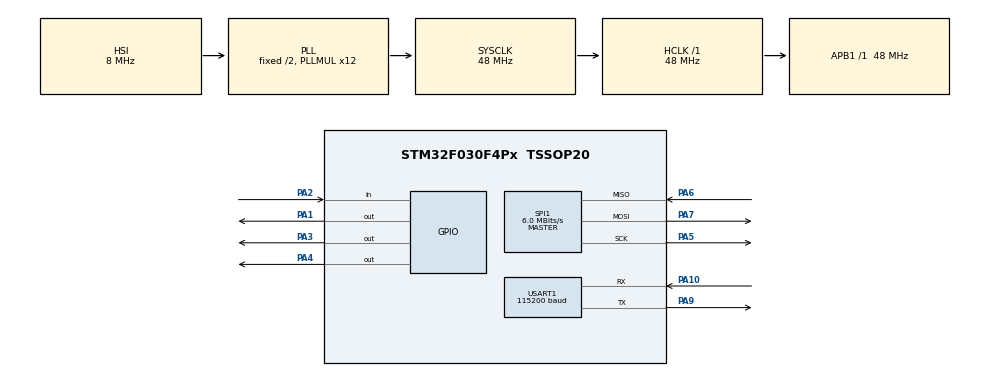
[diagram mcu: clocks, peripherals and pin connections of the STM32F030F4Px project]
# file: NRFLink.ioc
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Mcu.Family=STM32F0
Mcu.Name=STM32F030F4Px
Mcu.Package=TSSOP20
NVIC.USART1_IRQn=true\:2\:0\:true\:false\:true\:true\:true
PA1.GPIO_PuPd=GPIO_PULLUP
PA1.GPIO_Speed=GPIO_SPEED_FREQ_MEDIUM
PA1.PinState=GPIO_PIN_SET
PA1.Signal=GPIO_Output
PA10.Mode=Asynchronous
PA10.Signal=USART1_RX
PA13.Mode=Serial_Wire
PA13.Signal=SYS_SWDIO
PA14.Mode=Serial_Wire
PA14.Signal=SYS_SWCLK
PA2.GPIO_PuPd=GPIO_PULLUP
PA2.Signal=GPIO_Input
PA3.GPIO_ModeDefaultOutputPP=GPIO_MODE_OUTPUT_PP
PA3.GPIO_PuPd=GPIO_NOPULL
PA3.GPIO_Speed=GPIO_SPEED_FREQ_HIGH
PA3.PinState=GPIO_PIN_SET
PA3.Signal=GPIO_Output
PA4.GPIO_ModeDefaultOutputPP=GPIO_MODE_OUTPUT_PP
PA4.GPIO_PuPd=GPIO_NOPULL
PA4.GPIO_Speed=GPIO_SPEED_FREQ_HIGH
PA4.PinState=GPIO_PIN_SET
PA4.Signal=GPIO_Output
PA5.Mode=Full_Duplex_Master
PA5.Signal=SPI1_SCK
PA6.Mode=Full_Duplex_Master
PA6.Signal=SPI1_MISO
PA7.Mode=Full_Duplex_Master
PA7.Signal=SPI1_MOSI
PA9.Mode=Asynchronous
PA9.Signal=USART1_TX
ProjectManager.HeapSize=0x200
ProjectManager.StackSize=0x400
ProjectManager.TargetToolchain=MDK-ARM V5
RCC.AHBFreq_Value=48000000
RCC.APB1Freq_Value=48000000
RCC.APB1TimFreq_Value=48000000
RCC.HCLKFreq_Value=48000000
RCC.PLLMUL=RCC_PLL_MUL12
RCC.SYSCLKFreq_VALUE=48000000
RCC.SYSCLKSource=RCC_SYSCLKSOURCE_PLLCLK
SPI1.BaudRatePrescaler=SPI_BAUDRATEPRESCALER_8
SPI1.CRCCalculation=SPI_CRCCALCULATION_DISABLE
SPI1.CalculateBaudRate=6.0 MBits/s
SPI1.DataSize=SPI_DATASIZE_8BIT
SPI1.Direction=SPI_DIRECTION_2LINES
SPI1.Mode=SPI_MODE_MASTER
SPI1.VirtualType=VM_MASTER
USART1.BaudRate=115200
USART1.VirtualMode-Asynchronous=VM_ASYNC
board=custom

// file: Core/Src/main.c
/* USER CODE BEGIN Header */
/**
  ******************************************************************************
  * @file           : main.c
  * @brief          : Main program body
  ******************************************************************************
  * @attention
  *
  * <h2><center>&copy; Copyright (c) 2023 STMicroelectronics.
  * All rights reserved.</center></h2>
  *
  * This software component is licensed by ST under BSD 3-Clause license,
  * the "License"; You may not use this file except in compliance with the
  * License. You may obtain a copy of the License at:
  *                        opensource.org/licenses/BSD-3-Clause
  *
  ******************************************************************************
  */
/* USER CODE END Header */
#include "main.h"
#include "spi.h"
#include "usart.h"
#include "gpio.h"

/* USER CODE BEGIN Includes */
#include "nrf24l01.h"
/* USER CODE END Includes */

void SystemClock_Config(void);

/* USER CODE BEGIN 0 */
#define RX_BUFF_LEN  32
uint8_t rxBuff[RX_BUFF_LEN]={0};//定义一个全局变量

void HAL_UART_RxCpltCallback(UART_HandleTypeDef *huart)
{
    if(huart->Instance == USART1)//假如有串口1触发接收中断
    {
	   HAL_UART_Receive_IT(&huart1,rxBuff,32);
       HAL_UART_Transmit(&huart1,rxBuff,sizeof(rxBuff),100);
    }

}

int16_t check_nrf = 0;
uint8_t check_rx = 0;
uint8_t nrf_test[32] = {0};

typedef struct{
	uint16_t lx_value;
	uint16_t ly_value;
	uint16_t rx_value;
	uint16_t ry_value;

	uint16_t gyrox;
	uint16_t gyroy;
	uint16_t gyroz;

	uint16_t accx;
	uint16_t accy;
	uint16_t accz;

	uint8_t key_value;

	float anglex;
	float angley;
	float anglez;

}RC_Ctrl_t;

RC_Ctrl_t RC_Ctrl;

typedef union {
	uint8_t uchar_data[4];
	float   float_data;
}uchar_to_float_t;

uchar_to_float_t uchar_to_float;

/* USER CODE END 0 */

int main(void)
{
  /* USER CODE BEGIN 1 */
	uint8_t reLen = 0;						// 接收到的数据长度
  /* USER CODE END 1 */

  /* MCU Configuration--------------------------------------------------------*/

  /* Reset of all peripherals, Initializes the Flash interface and the Systick. */
  HAL_Init();

  /* Configure the system clock */
  SystemClock_Config();

  /* Initialize all configured peripherals */
  MX_GPIO_Init();
  MX_SPI1_Init();
  MX_USART1_UART_Init();
  /* USER CODE BEGIN 2 */
	__HAL_UART_ENABLE_IT(&huart1,UART_IT_RXNE);
	HAL_UART_Receive_IT(&huart1,rxBuff,32);
	NRF24L01_Gpio_Init();
	NRF24L01_Init();
	check_nrf = NRF24L01_Check();
	NRF24L01_Set_Mode( MODE_RX );
//	NRF24L01_RX_Mode();
  /* USER CODE END 2 */

  /* Infinite loop */
  while (1)
  {

    /* USER CODE BEGIN 3 */
	reLen = NRF24L01_RxPacket( nrf_test );		// 接收字节
	if( 0 != reLen )
	{
		//printf("rxData is: %d%s \r\n", nrf24l01RxBuffer[0], &nrf24l01RxBuffer[1]);
	}
	if(nrf_test[0] == 0xA3 && nrf_test[28] == 0X3A)
	{
		RC_Ctrl.lx_value = (nrf_test[1]<<8) + nrf_test[2];
		RC_Ctrl.ly_value = (nrf_test[3]<<8) + nrf_test[4];
		RC_Ctrl.rx_value = (nrf_test[5]<<8) + nrf_test[6];
		RC_Ctrl.ry_value = (nrf_test[7]<<8) + nrf_test[8];

		RC_Ctrl.gyrox = (nrf_test[9]<<8) + nrf_test[10];
		RC_Ctrl.gyroy = (nrf_test[11]<<8) + nrf_test[12];
		RC_Ctrl.gyroz = (nrf_test[13]<<8) + nrf_test[14];

//			RC_Ctrl.accx = (nrf_test[15]<<8) + nrf_test[16];
//			RC_Ctrl.accy = (nrf_test[17]<<8) + nrf_test[18];
//			RC_Ctrl.accz = (nrf_test[19]<<8) + nrf_test[20];

		RC_Ctrl.key_value = nrf_test[15];

		uchar_to_float.uchar_data[0] = nrf_test[16];
		uchar_to_float.uchar_data[1] = nrf_test[17];
		uchar_to_float.uchar_data[2] = nrf_test[18];
		uchar_to_float.uchar_data[3] = nrf_test[19];
		RC_Ctrl.anglex = uchar_to_float.float_data;

		uchar_to_float.uchar_data[0] = nrf_test[20];
		uchar_to_float.uchar_data[1] = nrf_test[21];
		uchar_to_float.uchar_data[2] = nrf_test[22];
		uchar_to_float.uchar_data[3] = nrf_test[23];
		RC_Ctrl.angley = uchar_to_float.float_data;

		uchar_to_float.uchar_data[0] = nrf_test[24];
		uchar_to_float.uchar_data[1] = nrf_test[25];
		uchar_to_float.uchar_data[2] = nrf_test[26];
		uchar_to_float.uchar_data[3] = nrf_test[27];
		RC_Ctrl.anglez = uchar_to_float.float_data;

	}
//	PAout(1) = 0;
//	HAL_Delay(1000);
//	PAout(1) = 1;
//	HAL_Delay(1000);
	//HAL_Delay(5);
  }
  /* USER CODE END 3 */
}

void SystemClock_Config(void)
{
  RCC_OscInitTypeDef RCC_OscInitStruct = {0};
  RCC_ClkInitTypeDef RCC_ClkInitStruct = {0};
  RCC_PeriphCLKInitTypeDef PeriphClkInit = {0};

  /** Initializes the RCC Oscillators according to the specified parameters
  * in the RCC_OscInitTypeDef structure.
  */
  RCC_OscInitStruct.OscillatorType = RCC_OSCILLATORTYPE_HSI;
  RCC_OscInitStruct.HSIState = RCC_HSI_ON;
  RCC_OscInitStruct.HSICalibrationValue = RCC_HSICALIBRATION_DEFAULT;
  RCC_OscInitStruct.PLL.PLLState = RCC_PLL_ON;
  RCC_OscInitStruct.PLL.PLLSource = RCC_PLLSOURCE_HSI;
  RCC_OscInitStruct.PLL.PLLMUL = RCC_PLL_MUL12;
  RCC_OscInitStruct.PLL.PREDIV = RCC_PREDIV_DIV1;
  if (HAL_RCC_OscConfig(&RCC_OscInitStruct) != HAL_OK)
  {
    Error_Handler();
  }
  /** Initializes the CPU, AHB and APB buses clocks
  */
  RCC_ClkInitStruct.ClockType = RCC_CLOCKTYPE_HCLK|RCC_CLOCKTYPE_SYSCLK
                              |RCC_CLOCKTYPE_PCLK1;
  RCC_ClkInitStruct.SYSCLKSource = RCC_SYSCLKSOURCE_PLLCLK;
  RCC_ClkInitStruct.AHBCLKDivider = RCC_SYSCLK_DIV1;
  RCC_ClkInitStruct.APB1CLKDivider = RCC_HCLK_DIV1;

  if (HAL_RCC_ClockConfig(&RCC_ClkInitStruct, FLASH_LATENCY_1) != HAL_OK)
  {
    Error_Handler();
  }
  PeriphClkInit.PeriphClockSelection = RCC_PERIPHCLK_USART1;
  PeriphClkInit.Usart1ClockSelection = RCC_USART1CLKSOURCE_PCLK1;
  if (HAL_RCCEx_PeriphCLKConfig(&PeriphClkInit) != HAL_OK)
  {
    Error_Handler();
  }
}

void Error_Handler(void)
{
}

/************************ (C) COPYRIGHT STMicroelectronics *****END OF FILE****/
